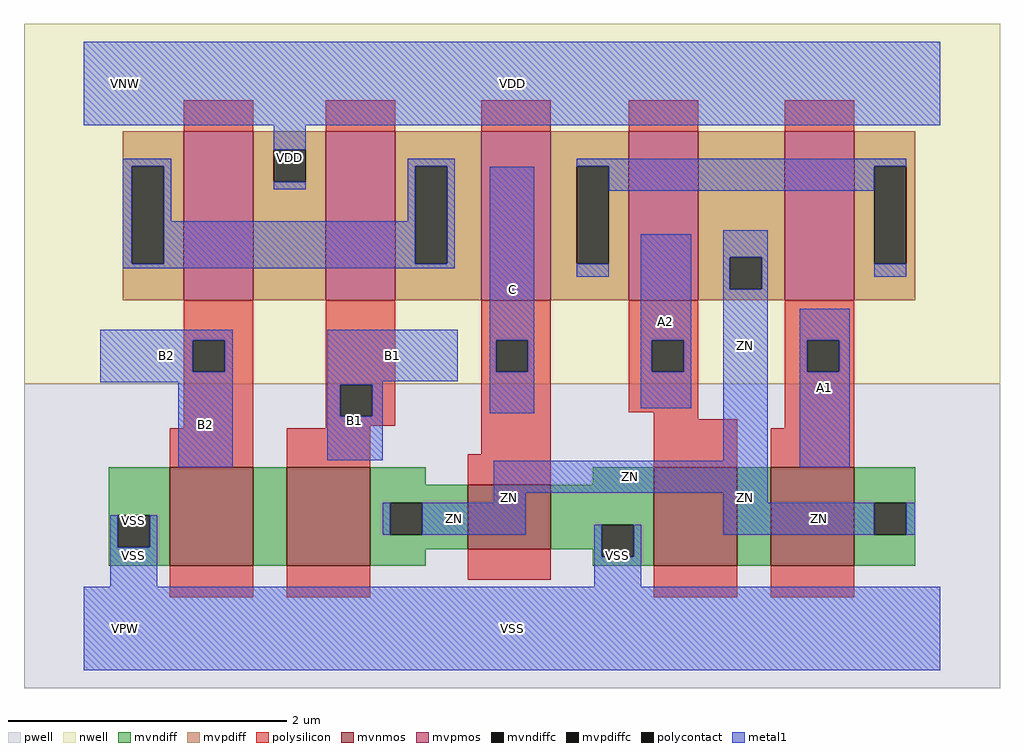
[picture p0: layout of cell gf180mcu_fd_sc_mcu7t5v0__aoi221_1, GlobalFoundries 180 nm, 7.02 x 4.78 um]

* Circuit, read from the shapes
.subckt gf180mcu_fd_sc_mcu7t5v0__aoi221_1 A1 A2 B1 B2 C ZN VDD VNW VPW VSS
XM1 n1 B2 VSS VPW nfet_06v0 w=0.71u l=0.6u
XM2 ZN B1 n1 VPW nfet_06v0 w=0.71u l=0.6u
XM3 VSS C ZN VPW nfet_06v0 w=0.465u l=0.6u
XM4 n2 A2 VSS VPW nfet_06v0 w=0.71u l=0.6u
XM5 ZN A1 n2 VPW nfet_06v0 w=0.71u l=0.6u
XM6 VDD B2 n3 VNW pfet_06v0 w=1.215u l=0.5u
XM7 n3 B1 VDD VNW pfet_06v0 w=1.215u l=0.5u
XM8 n4 C n3 VNW pfet_06v0 w=1.215u l=0.5u
XM9 ZN A2 n4 VNW pfet_06v0 w=1.215u l=0.5u
XM10 n4 A1 ZN VNW pfet_06v0 w=1.215u l=0.5u
.ends

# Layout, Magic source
magic
tech gf180mcuD
magscale 1 10
<< nwell >>
rect -86 352 1318 870
<< pwell >>
rect -86 -86 1318 352
<< mvnmos >>
rect 124 90 244 232
rect 292 90 412 232
rect 552 114 672 207
rect 820 90 940 232
rect 988 90 1108 232
<< mvpmos >>
rect 144 472 244 715
rect 348 472 448 715
rect 572 472 672 715
rect 784 472 884 715
rect 1008 472 1108 715
<< mvndiff >>
rect 36 163 124 232
rect 36 117 49 163
rect 95 117 124 163
rect 36 90 124 117
rect 244 90 292 232
rect 412 207 492 232
rect 732 207 820 232
rect 412 181 552 207
rect 412 135 441 181
rect 487 135 552 181
rect 412 114 552 135
rect 672 149 820 207
rect 672 114 745 149
rect 412 90 492 114
rect 732 103 745 114
rect 791 103 820 149
rect 732 90 820 103
rect 940 90 988 232
rect 1108 181 1196 232
rect 1108 135 1137 181
rect 1183 135 1196 181
rect 1108 90 1196 135
<< mvpdiff >>
rect 56 665 144 715
rect 56 525 69 665
rect 115 525 144 665
rect 56 472 144 525
rect 244 689 348 715
rect 244 643 273 689
rect 319 643 348 689
rect 244 472 348 643
rect 448 665 572 715
rect 448 525 477 665
rect 523 525 572 665
rect 448 472 572 525
rect 672 665 784 715
rect 672 525 709 665
rect 755 525 784 665
rect 672 472 784 525
rect 884 534 1008 715
rect 884 488 929 534
rect 975 488 1008 534
rect 884 472 1008 488
rect 1108 665 1196 715
rect 1108 525 1137 665
rect 1183 525 1196 665
rect 1108 472 1196 525
<< mvndiffc >>
rect 49 117 95 163
rect 441 135 487 181
rect 745 103 791 149
rect 1137 135 1183 181
<< mvpdiffc >>
rect 69 525 115 665
rect 273 643 319 689
rect 477 525 523 665
rect 709 525 755 665
rect 929 488 975 534
rect 1137 525 1183 665
<< polysilicon >>
rect 144 715 244 760
rect 348 715 448 760
rect 572 715 672 760
rect 784 715 884 760
rect 1008 715 1108 760
rect 144 415 244 472
rect 144 369 157 415
rect 203 369 244 415
rect 144 288 244 369
rect 348 351 448 472
rect 348 305 369 351
rect 415 305 448 351
rect 348 292 448 305
rect 572 415 672 472
rect 572 369 593 415
rect 639 369 672 415
rect 348 288 412 292
rect 124 232 244 288
rect 292 232 412 288
rect 572 251 672 369
rect 784 415 884 472
rect 784 369 817 415
rect 863 369 884 415
rect 784 311 884 369
rect 552 207 672 251
rect 820 301 884 311
rect 1008 415 1108 472
rect 1008 369 1041 415
rect 1087 369 1108 415
rect 820 232 940 301
rect 1008 288 1108 369
rect 988 232 1108 288
rect 124 45 244 90
rect 292 45 412 90
rect 552 70 672 114
rect 820 45 940 90
rect 988 45 1108 90
<< polycontact >>
rect 157 369 203 415
rect 369 305 415 351
rect 593 369 639 415
rect 817 369 863 415
rect 1041 369 1087 415
<< metal1 >>
rect 0 724 1232 844
rect 273 689 319 724
rect 56 665 126 676
rect 56 525 69 665
rect 115 586 126 665
rect 273 632 319 643
rect 466 665 534 676
rect 466 586 477 665
rect 115 525 477 586
rect 523 525 534 665
rect 709 665 1183 676
rect 56 518 534 525
rect 24 415 214 430
rect 24 369 157 415
rect 203 369 214 415
rect 24 354 214 369
rect 136 232 214 354
rect 350 356 538 430
rect 584 415 648 664
rect 755 630 1137 665
rect 709 506 755 525
rect 584 369 593 415
rect 639 369 648 415
rect 350 351 430 356
rect 350 305 369 351
rect 415 305 430 351
rect 584 310 648 369
rect 801 415 874 567
rect 801 369 817 415
rect 863 369 874 415
rect 801 317 874 369
rect 920 534 984 573
rect 920 488 929 534
rect 975 488 984 534
rect 1137 506 1183 525
rect 350 242 430 305
rect 920 241 984 488
rect 590 195 984 241
rect 1030 415 1102 460
rect 1030 369 1041 415
rect 1087 369 1102 415
rect 1030 232 1102 369
rect 590 181 636 195
rect 38 117 49 163
rect 95 117 106 163
rect 430 135 441 181
rect 487 135 636 181
rect 920 181 984 195
rect 38 60 106 117
rect 734 103 745 149
rect 791 103 802 149
rect 920 135 1137 181
rect 1183 135 1196 181
rect 734 60 802 103
rect 0 -60 1232 60
<< labels >>
flabel metal1 s 24 354 214 430 0 FreeSans 400 0 0 0 B2
port 4 nsew default input
flabel metal1 s 584 310 648 664 0 FreeSans 400 0 0 0 C
port 5 nsew default input
flabel metal1 s 0 724 1232 844 0 FreeSans 400 0 0 0 VDD
port 7 nsew power bidirectional abutment
flabel metal1 s 38 149 106 163 0 FreeSans 400 0 0 0 VSS
port 10 nsew ground bidirectional abutment
flabel metal1 s 920 241 984 573 0 FreeSans 400 0 0 0 ZN
port 6 nsew default output
flabel metal1 s 1030 232 1102 460 0 FreeSans 400 0 0 0 A1
port 1 nsew default input
flabel metal1 s 801 317 874 567 0 FreeSans 400 0 0 0 A2
port 2 nsew default input
flabel metal1 s 350 356 538 430 0 FreeSans 400 0 0 0 B1
port 3 nsew default input
flabel nwell s 10 734 110 834 0 FreeSans 400 0 0 0 VNW
port 8 nsew power bidirectional
flabel pwell s 10 -50 110 50 0 FreeSans 400 0 0 0 VPW
port 9 nsew ground bidirectional
rlabel metal1 s 350 242 430 356 1 B1
port 3 nsew default input
rlabel metal1 s 136 232 214 354 1 B2
port 4 nsew default input
rlabel metal1 s 590 195 984 241 1 ZN
port 6 nsew default output
rlabel metal1 s 920 181 984 195 1 ZN
port 6 nsew default output
rlabel metal1 s 590 181 636 195 1 ZN
port 6 nsew default output
rlabel metal1 s 920 135 1196 181 1 ZN
port 6 nsew default output
rlabel metal1 s 430 135 636 181 1 ZN
port 6 nsew default output
rlabel metal1 s 273 632 319 724 1 VDD
port 7 nsew power bidirectional abutment
rlabel metal1 s 734 60 802 149 1 VSS
port 10 nsew ground bidirectional abutment
rlabel metal1 s 38 60 106 149 1 VSS
port 10 nsew ground bidirectional abutment
rlabel metal1 s 0 -60 1232 60 1 VSS
port 10 nsew ground bidirectional abutment
<< properties >>
string FIXED_BBOX 0 0 1232 784
string GDS_END 1295882
string GDS_FILE $PDKPATH/libs.ref/gf180mcu_fd_sc_mcu7t5v0/gds/gf180mcu_fd_sc_mcu7t5v0.gds
string GDS_START 1291726
string LEFclass core
string LEFsite GF018hv5v_mcu_sc7
string LEFsymmetry X Y
<< end >>
